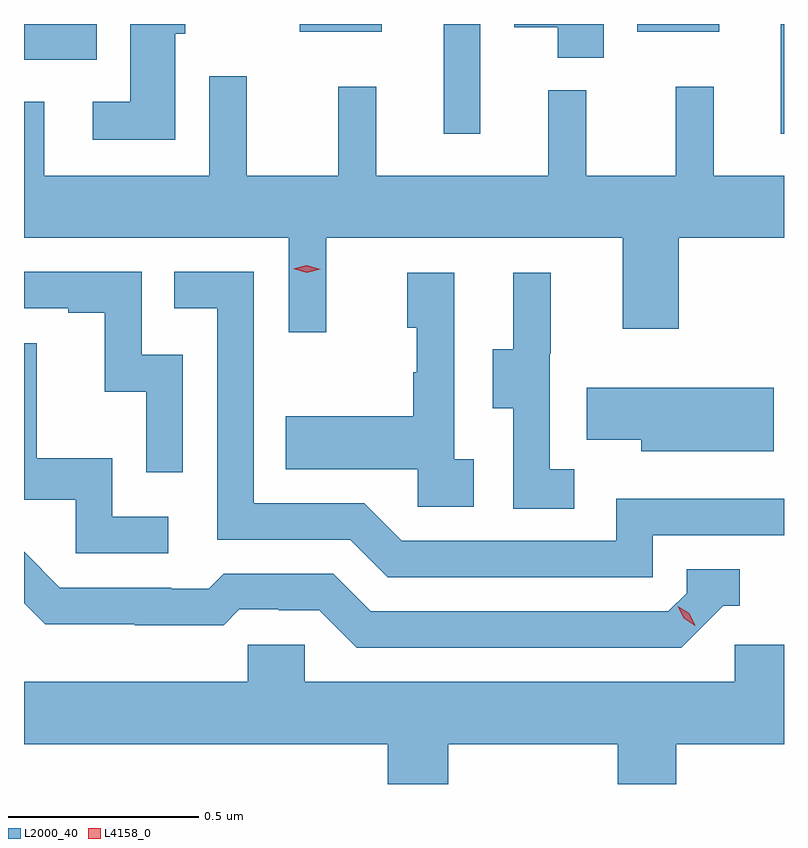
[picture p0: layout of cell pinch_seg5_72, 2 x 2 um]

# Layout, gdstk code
import gdstk
lib = gdstk.Library(unit=1e-6, precision=1e-09)
def R(c, l, rs):  # rectangles x0, y0, x1, y1
    for r in rs: c.add(gdstk.rectangle(r[:2], r[2:], *l))
def P(c, l, *ps):  # polygons
    for p in ps: c.add(gdstk.Polygon(p, *l))
L2000_40 = (2000, 40)
L4158_0 = (4158, 0)

pinch_seg5_72 = lib.new_cell('pinch_seg5_72')
R(pinch_seg5_72, L2000_40, [(1057.286,912.978,1057.383,913.267), (1058.174,912.978,1058.182,913.267), (1056.182,913.173,1056.373,913.267), (1056.908,913.247,1057.123,913.267), (1057.796,913.247,1058.011,913.267)])
P(pinch_seg5_72, L2000_40, [(1057.708,913.267),(1057.472,913.267),(1057.472,913.259),(1057.586,913.259),(1057.586,913.178),(1057.708,913.178)],
  [(1056.58,913.242),(1056.606,913.242),(1056.606,913.267),(1056.461,913.267),(1056.461,913.063),(1056.363,913.063),(1056.363,912.962),(1056.58,912.962)],
  [(1056.977,912.704),(1057.757,912.704),(1057.757,912.465),(1057.905,912.465),(1057.905,912.704),(1058.182,912.704),(1058.182,912.868),(1057.997,912.868),(1057.997,913.102),(1057.897,913.102),(1057.897,912.868),(1057.662,912.868),(1057.662,913.093),(1057.562,913.093),(1057.562,912.868),(1057.109,912.868),(1057.109,913.102),(1057.009,913.102),(1057.009,912.868),(1056.768,912.868),(1056.768,913.129),(1056.669,913.129),(1056.669,912.868),(1056.235,912.868),(1056.235,913.063),(1056.182,913.063),(1056.182,912.704),(1056.879,912.704),(1056.879,912.456),(1056.977,912.456)],
  [(1056.6,912.396),(1056.492,912.396),(1056.492,912.615),(1056.182,912.615),(1056.182,912.519),(1056.299,912.519),(1056.299,912.507),(1056.395,912.507),(1056.395,912.299),(1056.504,912.299),(1056.504,912.087),(1056.6,912.087)],
  [(1057.836,911.922),(1058.182,911.922),(1058.182,912.018),(1057.74,912.018),(1057.74,911.907),(1057.176,911.907),(1057.077,912.006),(1056.786,912.006),(1056.786,912.615),(1056.577,912.615),(1056.577,912.519),(1056.69,912.519),(1056.69,911.91),(1057.04,911.91),(1057.139,911.811),(1057.836,911.811)],
  [(1057.63,912.095),(1057.566,912.095),(1057.566,912.399),(1057.568,912.399),(1057.568,912.613),(1057.469,912.613),(1057.469,912.411),(1057.415,912.411),(1057.415,912.256),(1057.47,912.256),(1057.47,911.992),(1057.63,911.992)],
  [(1057.366,912.122),(1057.314,912.122),(1057.314,912.613),(1057.19,912.613),(1057.19,912.468),(1057.216,912.468),(1057.216,912.35),(1057.206,912.35),(1057.206,912.235),(1056.871,912.235),(1056.871,912.095),(1057.218,912.095),(1057.218,911.997),(1057.366,911.997)],
  [(1056.562,911.97),(1056.414,911.97),(1056.414,912.124),(1056.215,912.124),(1056.215,912.427),(1056.182,912.427),(1056.182,912.015),(1056.318,912.015),(1056.318,911.874),(1056.562,911.874)],
  [(1058.155,912.31),(1057.663,912.31),(1057.663,912.173),(1057.806,912.173),(1057.806,912.143),(1058.155,912.143)],
  [(1058.022,911.736),(1058.065,911.736),(1058.065,911.832),(1057.926,911.832),(1057.926,911.769),(1057.878,911.721),(1057.095,911.721),(1056.996,911.82),(1056.707,911.82),(1056.668,911.781),(1056.569,911.781),(1056.569,911.784),(1056.276,911.784),(1056.182,911.878),(1056.182,911.743),(1056.238,911.687),(1056.474,911.687),(1056.474,911.685),(1056.707,911.685),(1056.749,911.727),(1056.852,911.727),(1056.852,911.724),(1056.959,911.724),(1057.058,911.625),(1057.911,911.625)],
  [(1057.299,911.372),(1057.744,911.372),(1057.744,911.267),(1057.899,911.267),(1057.899,911.372),(1058.182,911.372),(1058.182,911.634),(1058.052,911.634),(1058.052,911.536),(1056.921,911.536),(1056.921,911.634),(1056.771,911.634),(1056.771,911.536),(1056.182,911.536),(1056.182,911.372),(1057.139,911.372),(1057.139,911.267),(1057.299,911.267)])
P(pinch_seg5_72, L4158_0, [(1057.949,911.683),(1057.918,911.703),(1057.902,911.735),(1057.902,911.735),(1057.902,911.735),(1057.933,911.716),(1057.949,911.683),(1057.949,911.683)],
  [(1056.926,912.612),(1056.89,912.623),(1056.89,912.623),(1056.89,912.623),(1056.926,912.632),(1056.962,912.622),(1056.962,912.622),(1056.962,912.622)])

lib.write_gds('pinch_seg5_72.gds')
